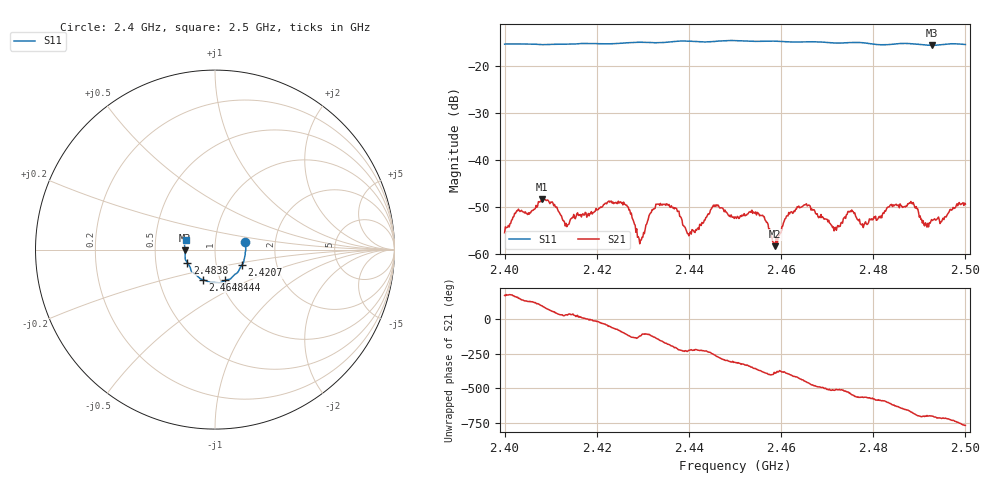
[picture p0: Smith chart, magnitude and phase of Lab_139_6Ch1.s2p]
# Hz S RI R 50
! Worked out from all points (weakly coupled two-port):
!   601 points, 2.4 GHz to 2.5 GHz, reference 50 ohm
!   highest |S21| = -48.26 dB at 2.4082 GHz (marker M1); lowest = -58.3 dB at 2.4587 GHz (marker M2)
!   lowest |S11| = -15.6 dB at 2.4928 GHz (marker M3), VSWR 1.40, Z = 35.7 - j0.305 ohm
!   |S11| at or under -10 dB: start of sweep to end of sweep
!   S12 and S22 are empty: the file has one direction only
!   S11 on the Smith chart (normalised r, x): 2.4 GHz: 1.39, +0.12; 2.4207 GHz: 1.33, -0.23; 2.444 GHz: 1.05, -0.37; 2.4648 GHz: 0.83, -0.29; 2.4838 GHz: 0.73, -0.11; 2.5 GHz: 0.72, +0.08
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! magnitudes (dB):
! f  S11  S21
! 2.4 GHz  -15.3  -55.4
! 2.4082 GHz  -15.4  -48.3
! 2.4135 GHz  -15.4  -54.1
! 2.4167 GHz  -15.2  -52.0
! 2.4207 GHz  -15.2  -50.1
! 2.4263 GHz  -15.1  -49.6
! 2.4295 GHz  -14.9  -57.0
! 2.4333 GHz  -15.0  -49.3
! 2.4373 GHz  -14.7  -50.3
! 2.44 GHz  -14.7  -56.0
! 2.444 GHz  -14.9  -51.7
! 2.4458 GHz  -14.7  -49.8
! 2.45 GHz  -14.6  -52.0
! 2.4558 GHz  -14.7  -51.7
! 2.4587 GHz  -14.7  -58.3
! 2.4648 GHz  -14.9  -49.7
! 2.4667 GHz  -14.8  -50.3
! 2.4717 GHz  -15.1  -54.3
! 2.4833 GHz  -15.4  -50.0
! 2.4838 GHz  -15.4  -49.4
! 2.4928 GHz  -15.6  -52.8
! 2.5 GHz  -15.4  -49.3
